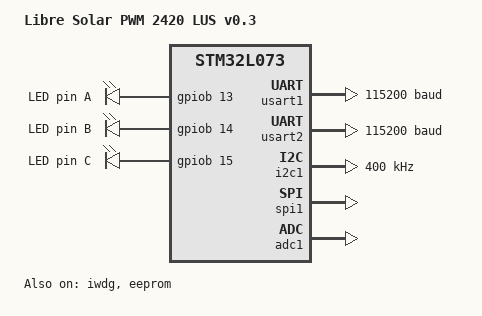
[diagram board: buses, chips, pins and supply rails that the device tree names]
/*
 * SPDX-License-Identifier: Apache-2.0
 *
 * Copyright (c) 2019 Martin Jäger / Libre Solar
 */

/dts-v1/;
#include <st/l0/stm32l073Xz.dtsi>

/ {
	model = "Libre Solar PWM 2420 LUS v0.3";
	compatible = "st,stm32l073";

	charge-controller {
		compatible = "charge-controller";
		hs-voltage-max = <55>;
		ls-voltage-max = <32>;
	};

	pwm-switch {
		compatible = "pwm-switch";
		pwm-frequency = <50>;
		// Current reduced to 15A. Increase to 20A PCB max values
		// only if attached to a big heat sink.
		current-max = <15>;
	};

	chosen {
		zephyr,console = &usart1;
		zephyr,shell-uart = &usart1;
		zephyr,sram = &sram0;
		zephyr,flash = &flash0;
	};

	leds {
		compatible = "gpio-leds";
		a {
			gpios = <&gpiob 13 GPIO_ACTIVE_HIGH>;
			label = "LED pin A";
		};
		b {
			gpios = <&gpiob 14 GPIO_ACTIVE_HIGH>;
			label = "LED pin B";
		};
		c {
			gpios = <&gpiob 15 GPIO_ACTIVE_HIGH>;
			label = "LED pin C";
		};
	};

	switches {
		compatible = "switch";
		load {
			gpios = <&gpiob 2 GPIO_ACTIVE_LOW>;
			label = "Load disable";
		};
		usb-pwr {
			gpios = <&gpiob 5 GPIO_ACTIVE_LOW>;
			label = "USB charging port disable";
		};
		boot0 {
			gpios = <&gpiob 12 GPIO_ACTIVE_HIGH>;
			label = "BOOT0 pin trigger";
		};
	};

	aliases {
		uart-dbg = &usart1;
		uext-uart = &usart2;
		spi-uext = &spi1;
		i2c-uext = &i2c1;
	};
};

&usart1 {
	current-speed = <115200>;
	status = "okay";
};

&usart2 {
	current-speed = <115200>;
	status = "okay";
};

&i2c1 {
	status = "okay";
	clock-frequency = <I2C_BITRATE_FAST>;
};

&spi1 {
	status = "okay";
};

&iwdg {
	status = "okay";
};

&adc1 {
	status = "okay";
};

&eeprom {
	status = "okay";
};
